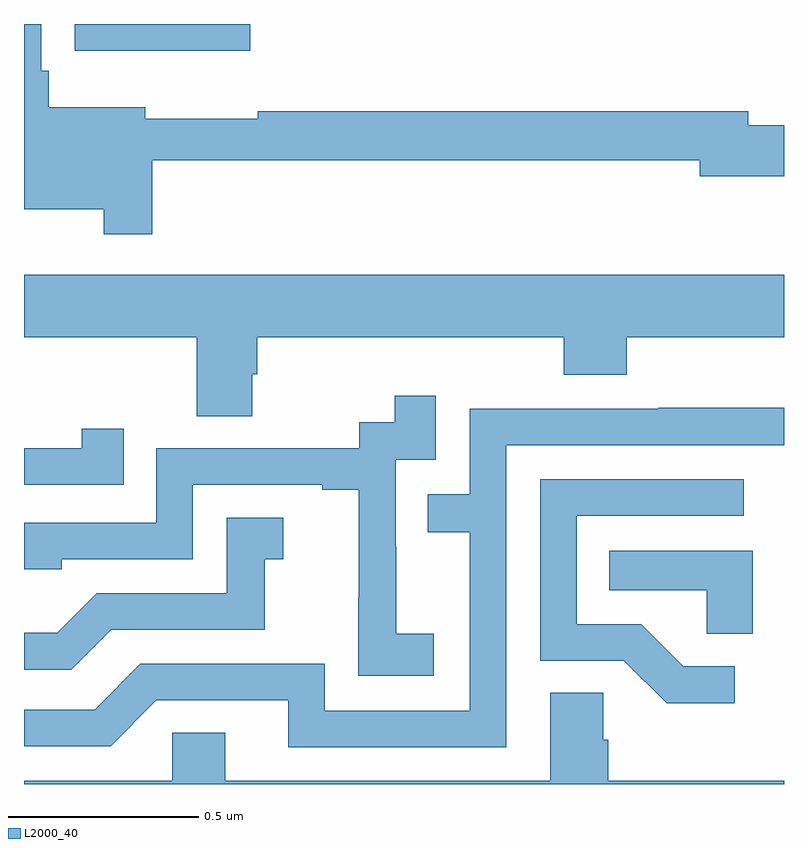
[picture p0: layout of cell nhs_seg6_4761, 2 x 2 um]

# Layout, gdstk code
import gdstk
lib = gdstk.Library(unit=1e-6, precision=1e-09)
def R(c, l, rs):  # rectangles x0, y0, x1, y1
    for r in rs: c.add(gdstk.rectangle(r[:2], r[2:], *l))
def P(c, l, *ps):  # polygons
    for p in ps: c.add(gdstk.Polygon(p, *l))
L2000_40 = (2000, 40)

nhs_seg6_4761 = lib.new_cell('nhs_seg6_4761')
R(nhs_seg6_4761, L2000_40, [(174.134,941.429,174.595,941.5)])
P(nhs_seg6_4761, L2000_40, [(174.338,941.142),(175.778,941.142),(175.778,941.099),(176,941.099),(176,941.234),(175.906,941.234),(175.906,941.27),(174.615,941.27),(174.615,941.251),(174.319,941.251),(174.319,941.281),(174.065,941.281),(174.065,941.377),(174.045,941.377),(174.045,941.5),(174,941.5),(174,941.012),(174.21,941.012),(174.21,940.947),(174.338,940.947)],
  [(174.601,940.578),(174.614,940.578),(174.614,940.676),(175.421,940.676),(175.421,940.577),(175.586,940.577),(175.586,940.676),(176,940.676),(176,940.84),(174,940.84),(174,940.676),(174.454,940.676),(174.454,940.468),(174.601,940.468)],
  [(175.078,939.895),(174.98,939.895),(174.98,940.124),(174.978,940.124),(174.978,940.353),(175.083,940.353),(175.083,940.522),(174.975,940.522),(174.975,940.452),(174.882,940.452),(174.882,940.383),(174.348,940.383),(174.348,940.188),(174,940.188),(174,940.065),(174.099,940.065),(174.099,940.092),(174.444,940.092),(174.444,940.287),(174.785,940.287),(174.785,940.275),(174.881,940.275),(174.881,939.991),(174.88,939.991),(174.88,939.785),(175.078,939.785)],
  [(175.269,940.392),(176,940.392),(176,940.49),(175.669,940.49),(175.669,940.488),(175.173,940.488),(175.173,940.263),(175.063,940.263),(175.063,940.162),(175.173,940.162),(175.173,939.693),(174.792,939.693),(174.792,939.816),(174.306,939.816),(174.186,939.696),(174,939.696),(174,939.6),(174.228,939.6),(174.348,939.72),(174.695,939.72),(174.695,939.597),(175.269,939.597)],
  [(174.263,940.435),(174.152,940.435),(174.152,940.383),(174,940.383),(174,940.287),(174.263,940.287)],
  [(175.87,939.81),(175.735,939.81),(175.624,939.921),(175.455,939.921),(175.455,940.206),(175.894,940.206),(175.894,940.302),(175.359,940.302),(175.359,939.825),(175.578,939.825),(175.691,939.713),(175.87,939.713)],
  [(174.229,939.906),(174.633,939.906),(174.633,940.091),(174.682,940.091),(174.682,940.201),(174.534,940.201),(174.534,940.002),(174.192,940.002),(174.088,939.898),(174,939.898),(174,939.801),(174.124,939.801)],
  [(175.918,940.114),(175.54,940.114),(175.54,940.01),(175.797,940.01),(175.797,939.895),(175.918,939.895)],
  [(176,939.508),(175.538,939.508),(175.538,939.617),(175.524,939.617),(175.524,939.74),(175.385,939.74),(175.385,939.508),(174.529,939.508),(174.529,939.635),(174.39,939.635),(174.39,939.508),(174,939.508),(174,939.5),(176,939.5)])

lib.write_gds('nhs_seg6_4761.gds')
